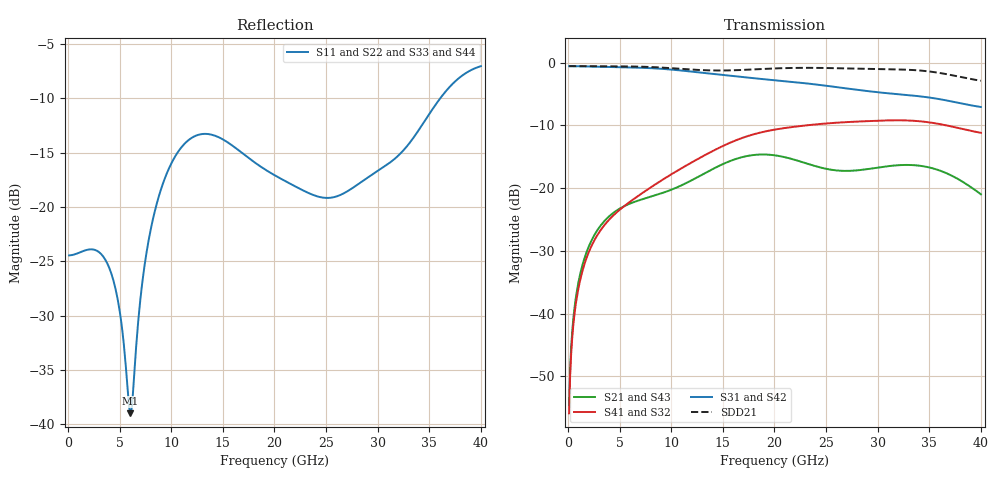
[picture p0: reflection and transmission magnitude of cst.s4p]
! E_s8_L1L8_p1000_round_g2: pair L1→L8, pitch 1 mm, two round antipads, 2 GND vias
! stackup: 8-layer 1.6 mm FR-4 (generic)
! ports: 1 P near, 2 N near, 3 P far, 4 N far
! CST Studio Suite 2025.5 Release from 2025-05-30, time domain (FIT, hexahedral, PBA), 162864 mesh cells, 41 s
! mesh: {'lpw': 20, 'lpb': 20, 'minstep': 0.0, 'ratio': 20}; ports: port 1 (face); port 2 (face); port 3 (face); port 4 (face)
! interpolated from CST's 1001 samples to the case grid
# Hz S RI R 50
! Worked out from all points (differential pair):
!   400 points, 100 MHz to 40 GHz, reference 50 ohm
!   strongest paths, dB at 100 MHz, 10.1 GHz, 20.1 GHz, 30.1 GHz, 40 GHz:
!     S31: -0.5, -1.1, -2.8, -4.7, -7.1
!     S42: -0.5, -1.1, -2.8, -4.7, -7.1
!     S41: -55.9, -17.7, -10.6, -9.2, -11.2
!     S32: -55.9, -17.7, -10.6, -9.2, -11.2
!     S21: -54.6, -20.2, -14.8, -16.7, -21.0
!     S43: -54.6, -20.2, -14.8, -16.7, -21.0
!   taken as a pair (ports 1,2 in; 3,4 out), SDD21 dB: -0.5, -0.9, -0.9, -1.0, -2.9
!   lowest |S11| = -39.0 dB at 6 GHz (marker M1), VSWR 1.02, Z = 50.5 + j0.997 ohm
!   |S11| at or under -10 dB: start of sweep to 36.07 GHz
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1e8  -0.0596 0.00436  0.000618 0.00177  0.9388 -0.0361  -0.000146 -0.0016
     0.000618 0.00177  -0.0596 0.00436  -0.000146 -0.0016  0.9388 -0.0361
     0.9388 -0.0361  -0.000146 -0.0016  -0.0596 0.00436  0.000618 0.00177
     -0.000146 -0.0016  0.9388 -0.0361  0.000618 0.00177  -0.0596 0.00436
1.5e9  -0.0313 0.0543  0.0162 0.0206  0.7853 -0.5104  -0.0146 -0.0184
       0.0162 0.0206  -0.0313 0.0543  -0.0146 -0.0184  0.7853 -0.5104
       0.7853 -0.5104  -0.0146 -0.0184  -0.0313 0.0543  0.0162 0.0206
       -0.0146 -0.0184  0.7853 -0.5104  0.0162 0.0206  -0.0313 0.0543
6e9  0.00535 0.00986  0.0477 -0.0583  -0.6052 -0.6896  -0.0484 0.0611
     0.0477 -0.0583  0.00535 0.00986  -0.0484 0.0611  -0.6052 -0.6896
     -0.6052 -0.6896  -0.0484 0.0611  0.00535 0.00986  0.0477 -0.0583
     -0.0484 0.0611  -0.6052 -0.6896  0.0477 -0.0583  0.00535 0.00986
1.21e10  0.1928 0.0816  -0.1165 -0.0112  -0.0686 0.8453  0.1625 -0.00532
         -0.1165 -0.0112  0.1928 0.0816  0.1625 -0.00532  -0.0686 0.8453
         -0.0686 0.8453  0.1625 -0.00532  0.1928 0.0816  -0.1165 -0.0112
         0.1625 -0.00532  -0.0686 0.8453  -0.1165 -0.0112  0.1928 0.0816
2.02e10  -0.00456 -0.1381  0.1785 -0.0351  0.1448 -0.7089  -0.2818 0.0865
         0.1785 -0.0351  -0.00455 -0.1381  -0.2818 0.0865  0.1448 -0.7089
         0.1448 -0.7089  -0.2818 0.0865  -0.00455 -0.1382  0.1785 -0.0351
         -0.2818 0.0865  0.1448 -0.7089  0.1785 -0.0351  -0.00455 -0.1382
2.88e10  0.00827 0.1338  -0.1307 0.0533  -0.0887 0.591  0.2461 -0.2374
         -0.1307 0.0533  0.00827 0.1338  0.2461 -0.2374  -0.0887 0.591
         -0.0887 0.591  0.2461 -0.2374  0.00826 0.1338  -0.1307 0.0533
         0.2461 -0.2374  -0.0887 0.591  -0.1307 0.0533  0.00825 0.1338
4e10  0.1907 -0.4009  -0.0768 -0.0459  -0.341 -0.284  0.1879 0.2026
      -0.0768 -0.0459  0.1907 -0.4009  0.1879 0.2026  -0.341 -0.284
      -0.341 -0.284  0.1879 0.2026  0.1907 -0.401  -0.0768 -0.0459
      0.1879 0.2026  -0.341 -0.284  -0.0768 -0.0459  0.1907 -0.4009
